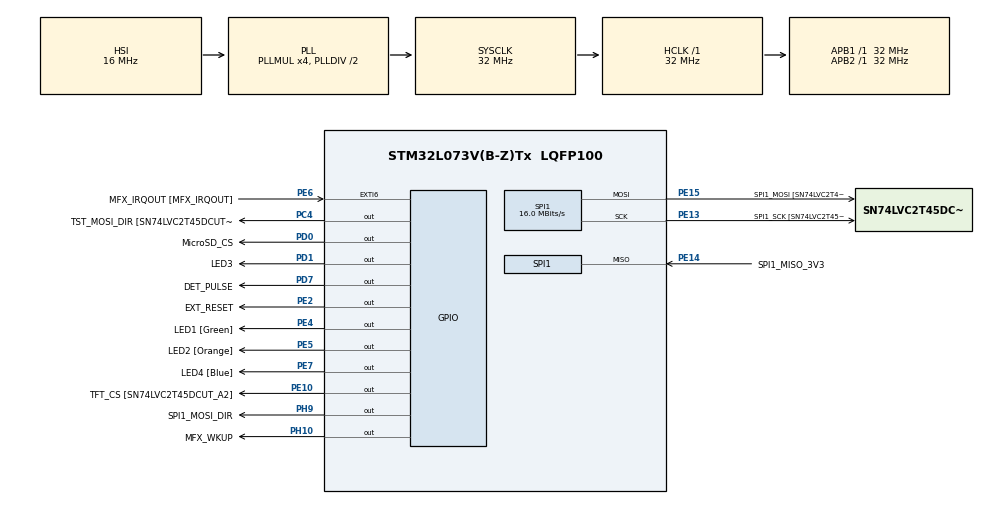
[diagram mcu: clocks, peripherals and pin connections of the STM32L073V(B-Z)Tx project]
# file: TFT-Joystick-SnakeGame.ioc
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Mcu.Family=STM32L0
Mcu.Name=STM32L073V(B-Z)Tx
Mcu.Package=LQFP100
NVIC.EXTI4_15_IRQn=true\:0\:0\:false\:false\:true\:true
PA0.GPIO_Label=PRESSURE [TSZ122IST_1]
PA0.Signal=ADC_IN0
PA11.GPIO_Label=USB_DM
PA11.Signal=USB_DM
PA12.GPIO_Label=USB_DP
PA12.Signal=USB_DP
PA13.GPIO_Label=SWDIO
PA13.Signal=SYS_SWDIO
PA14.GPIO_Label=SWCLK
PA14.Signal=SYS_SWCLK
PA4.GPIO_Label=DAC OUT1
PA4.Signal=COMP_DAC1_group
PA5.GPIO_Label=ADC_IN5
PA5.Signal=ADC_IN5
PA7.GPIO_Label=DET_COMP2_OUT [TP18]
PA7.Signal=COMP2_OUT
PB3.GPIO_Label=DET_COMP2_INM
PB3.Signal=COMP2_INM
PB4.GPIO_Label=DET_COMP2_INP
PB4.Signal=COMP2_INP
PB5.GPIO_Label=TempSensor_INT [STLM75M2F_OS/INT]
PB5.Signal=I2C1_SMBA
PB6.GPIO_Label=I2C1_SCL [STLM75M2F_SCL]
PB6.Signal=I2C1_SCL
PB7.GPIO_Label=I2C1_SDA [STLM75M2F_SDA]
PB7.Signal=I2C1_SDA
PC0.GPIO_Label=DET_LPTIM_CH1 [TS862AIPT_9]
PC0.Signal=LPTIM1_IN1
PC13.GPIO_Label=KEY [B2]
PC13.Signal=SYS_WKUP2
PC14-OSC32_IN.Signal=RCC_OSC32_IN
PC15-OSC32_OUT.Signal=RCC_OSC32_OUT
PC4.GPIO_Label=TST_MOSI_DIR [SN74LVC2T45DCUT_DIR]
PC4.Signal=GPIO_Output
PD0.GPIO_Label=MicroSD_CS
PD0.Signal=GPIO_Output
PD1.GPIO_Label=LED3
PD1.GPIO_ModeDefaultOutputPP=GPIO_MODE_OUTPUT_OD
PD1.Signal=GPIO_Output
PD11.GPIO_Label=LPUART_CTS_3V3 [ST3241EBPR_R4OUT]
PD11.Signal=LPUART1_CTS
PD12.GPIO_Label=LPUART_RTS [SN74LVC2T45DCUT_A2]
PD12.Signal=LPUART1_RTS
PD3.GPIO_Label=USART2_CTS_3V3 [ST3241EBPR_R4OUT]
PD3.Signal=USART2_CTS
PD4.GPIO_Label=USART2_RTS [N74LVC2T45DCUT_A2]
PD4.Signal=USART2_RTS
PD5.GPIO_Label=USART2_TX [N74LVC2T45DCUT_A1]
PD5.Signal=USART2_TX
PD6.GPIO_Label=USART2_RX_3V3 [ST3241EBPR_R3OUT]
PD6.Signal=USART2_RX
PD7.GPIO_Label=DET_PULSE
PD7.GPIO_ModeDefaultOutputPP=GPIO_MODE_OUTPUT_OD
PD7.Signal=GPIO_Output
PD8.GPIO_Label=LPUART_TX [SN74LVC2T45DCUT_A1]
PD8.Signal=LPUART1_TX
PD9.GPIO_Label=LPUART_RX_3V3 [ST3241EBPR_R3OUT]
PD9.Signal=LPUART1_RX
PE10.GPIO_Label=TFT_CS [SN74LVC2T45DCUT_A2]
PE10.Signal=GPIO_Output
PE13.GPIO_Label=SPI1_SCK [SN74LVC2T45DCUT_A1]
PE13.Mode=Full_Duplex_Master
PE13.Signal=SPI1_SCK
PE14.GPIO_Label=SPI1_MISO_3V3
PE14.Mode=Full_Duplex_Master
PE14.Signal=SPI1_MISO
PE15.GPIO_Label=SPI1_MOSI [SN74LVC2T45DCUT_A1]
PE15.Mode=Full_Duplex_Master
PE15.Signal=SPI1_MOSI
PE2.GPIO_Label=EXT_RESET
PE2.Signal=GPIO_Output
PE4.GPIO_Label=LED1 [Green]
PE4.GPIO_ModeDefaultOutputPP=GPIO_MODE_OUTPUT_OD
PE4.Signal=GPIO_Output
PE5.GPIO_Label=LED2 [Orange]
PE5.GPIO_ModeDefaultOutputPP=GPIO_MODE_OUTPUT_OD
PE5.Signal=GPIO_Output
PE6.GPIO_Label=MFX_IRQOUT [MFX_IRQOUT]
PE6.Signal=GPXTI6
PE7.GPIO_Label=LED4 [Blue]
PE7.GPIO_ModeDefaultOutputPP=GPIO_MODE_OUTPUT_OD
PE7.Signal=GPIO_Output
PE8.GPIO_Label=USART4_TX [SN74LVC2T45DCUT_A1]
PE8.Signal=USART4_TX
PE9.GPIO_Label=USART4_RX_3V3
PE9.Signal=USART4_RX
PH10.GPIO_Label=MFX_WKUP
PH10.Signal=GPIO_Output
PH9.GPIO_Label=SPI1_MOSI_DIR
PH9.Signal=GPIO_Output
ProjectManager.HeapSize=0x200
ProjectManager.StackSize=0x400
ProjectManager.TargetToolchain=SW4STM32
RCC.AHBFreq_Value=32000000
RCC.APB1Freq_Value=32000000
RCC.APB1TimFreq_Value=32000000
RCC.APB2Freq_Value=32000000
RCC.APB2TimFreq_Value=32000000
RCC.HCLKFreq_Value=32000000
RCC.HSE_VALUE=8000000
RCC.HSI16_VALUE=16000000
RCC.HSI48_VALUE=48000000
RCC.HSI_VALUE=16000000
RCC.LSE_VALUE=32768
RCC.MSI_VALUE=2097000
RCC.PLLMUL=RCC_PLLMUL_4
RCC.SYSCLKFreq_VALUE=32000000
RCC.SYSCLKSource=RCC_SYSCLKSOURCE_PLLCLK
RCC.VCOOutputFreq_Value=64000000
SH.COMP_DAC1_group.0=DAC_OUT1
SPI1.CalculateBaudRate=16.0 MBits/s
SPI1.Direction=SPI_DIRECTION_2LINES
SPI1.Mode=SPI_MODE_MASTER
SPI1.VirtualType=VM_MASTER
board=STM32L073Z-EVAL

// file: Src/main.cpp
/**
  ******************************************************************************
  * File Name          : main.c
  * Description        : Main program body
  ******************************************************************************
  ** This notice applies to any and all portions of this file
  * that are not between comment pairs USER CODE BEGIN and
  * USER CODE END. Other portions of this file, whether
  * inserted by the user or by software development tools
  * are owned by their respective copyright owners.
  *
  * COPYRIGHT(c) 2017 STMicroelectronics
  *
  * Redistribution and use in source and binary forms, with or without modification,
  * are permitted provided that the following conditions are met:
  *   1. Redistributions of source code must retain the above copyright notice,
  *      this list of conditions and the following disclaimer.
  *   2. Redistributions in binary form must reproduce the above copyright notice,
  *      this list of conditions and the following disclaimer in the documentation
  *      and/or other materials provided with the distribution.
  *   3. Neither the name of STMicroelectronics nor the names of its contributors
  *      may be used to endorse or promote products derived from this software
  *      without specific prior written permission.
  *
  * THIS SOFTWARE IS PROVIDED BY THE COPYRIGHT HOLDERS AND CONTRIBUTORS "AS IS"
  * AND ANY EXPRESS OR IMPLIED WARRANTIES, INCLUDING, BUT NOT LIMITED TO, THE
  * IMPLIED WARRANTIES OF MERCHANTABILITY AND FITNESS FOR A PARTICULAR PURPOSE ARE
  * DISCLAIMED. IN NO EVENT SHALL THE COPYRIGHT HOLDER OR CONTRIBUTORS BE LIABLE
  * FOR ANY DIRECT, INDIRECT, INCIDENTAL, SPECIAL, EXEMPLARY, OR CONSEQUENTIAL
  * DAMAGES (INCLUDING, BUT NOT LIMITED TO, PROCUREMENT OF SUBSTITUTE GOODS OR
  * SERVICES; LOSS OF USE, DATA, OR PROFITS; OR BUSINESS INTERRUPTION) HOWEVER
  * CAUSED AND ON ANY THEORY OF LIABILITY, WHETHER IN CONTRACT, STRICT LIABILITY,
  * OR TORT (INCLUDING NEGLIGENCE OR OTHERWISE) ARISING IN ANY WAY OUT OF THE USE
  * OF THIS SOFTWARE, EVEN IF ADVISED OF THE POSSIBILITY OF SUCH DAMAGE.
  *
  ******************************************************************************
  */

#include "main.h"
#include "stm32l0xx_hal.h"
#include "spi.h"
#include "gpio.h"

/* USER CODE BEGIN Includes */
#include "stm32l073z_eval.h"
#include "stm32l073z_eval_lcd.h"
#include "snake.hpp"
/* USER CODE END Includes */

/* USER CODE BEGIN PV */
/* Private variables ---------------------------------------------------------*/

/* USER CODE END PV */

void SystemClock_Config(void);

/* USER CODE BEGIN PFP */
/* Private function prototypes -----------------------------------------------*/

/* USER CODE END PFP */

/* USER CODE BEGIN 0 */
#define SNAKE_LCD_SCALE (16)
#define SNAKE_SPEED_MS (150)

void MyLCD_draw(uint16_t x, uint16_t y, uint16_t color) {
    BSP_LCD_SetTextColor(color);
    BSP_LCD_FillRect(
            x * SNAKE_LCD_SCALE,
            y * SNAKE_LCD_SCALE,
            SNAKE_LCD_SCALE,
            SNAKE_LCD_SCALE);
}

void MyLCD_updateScore(uint16_t score) {
    char buf[50];

    BSP_LCD_SetTextColor(Snake::COLOR_TEXT);
    BSP_LCD_SetBackColor(Snake::COLOR_BORDER);

    BSP_LCD_SetFont(&Font16);
    sprintf(buf, "Score: %d",score);
    BSP_LCD_DisplayStringAt(0, 0, (unsigned char *) buf, LEFT_MODE);
}
/* USER CODE END 0 */

int main(void)
{

  /* MCU Configuration----------------------------------------------------------*/

  /* Reset of all peripherals, Initializes the Flash interface and the Systick. */
  HAL_Init();

  /* Configure the system clock */
  SystemClock_Config();

  /* Initialize all configured peripherals */
  MX_GPIO_Init();
  MX_SPI1_Init();

  /* USER CODE BEGIN 2 */

  BSP_LED_Init(LED1);
  BSP_LED_Init(LED2);
  BSP_LED_Init(LED3);
  BSP_LED_Init(LED4);

  BSP_JOY_Init(JOY_MODE_GPIO);

  BSP_LCD_Init();
  BSP_LCD_SetTextColor(Snake::COLOR_TEXT);
  BSP_LCD_SetBackColor(Snake::COLOR_BACKGROUND);
  BSP_LCD_SetFont(&Font24);

  BSP_LCD_Clear(Snake::COLOR_BACKGROUND);
  BSP_LCD_DisplayStringAt(0, LINE(3), (unsigned char *) "[SNAKE]", CENTER_MODE);
  BSP_LCD_DisplayStringAt(0, LINE(4), (unsigned char *) "Press any key", CENTER_MODE);
  BSP_LCD_DisplayStringAt(0, LINE(5), (unsigned char *) "to start.", CENTER_MODE);
  /* USER CODE END 2 */

  /* Infinite loop */
  /* USER CODE BEGIN WHILE */
  uint32_t ticks = 0;
  while (true) {

      while (BSP_JOY_GetState() == JOY_NONE) {
          HAL_Delay(10);
          // wait until any key is pressed to start
      }

      Snake snake = Snake(
              BSP_LCD_GetXSize() / SNAKE_LCD_SCALE,
              BSP_LCD_GetYSize() / SNAKE_LCD_SCALE,
              &MyLCD_draw,
              &MyLCD_updateScore,
              []() { BSP_LCD_Clear(Snake::COLOR_BACKGROUND); });
      snake.invalidate();

      while (true) {
          //TODO: move to external interrupt
          switch (BSP_JOY_GetState()) {
          case JOY_SEL:
              break;
          case JOY_LEFT:
              snake.setDirection(Snake::DIR_LEFT);
              break;
          case JOY_UP:
              snake.setDirection(Snake::DIR_UP);
              break;
          case JOY_DOWN:
              snake.setDirection(Snake::DIR_DOWN);
              break;
          case JOY_RIGHT:
              snake.setDirection(Snake::DIR_RIGHT);
              break;
          case JOY_NONE:
          default:
              break;
          };
          if (HAL_GetTick() - ticks > SNAKE_SPEED_MS) {
              // BSP_LED_Toggle(LED_ORANGE);
              ticks = HAL_GetTick();
              if (!snake.hasNextMove()) {
                  // lose
                  break;
              }
              snake.move();
          }
      }

      BSP_LCD_SetTextColor(Snake::COLOR_TEXT);
      BSP_LCD_SetBackColor(Snake::COLOR_BACKGROUND);
      BSP_LCD_SetFont(&Font24);
      BSP_LCD_DisplayStringAt(0, LINE(3), (unsigned char *) "You lose!", CENTER_MODE);
      BSP_LCD_DisplayStringAt(0, LINE(4), (unsigned char *) "Press any key", CENTER_MODE);
      BSP_LCD_DisplayStringAt(0, LINE(5), (unsigned char *) "to restart.", CENTER_MODE);
  }
  /* USER CODE END WHILE */

}

/** System Clock Configuration
*/
void SystemClock_Config(void)
{

  RCC_OscInitTypeDef RCC_OscInitStruct;
  RCC_ClkInitTypeDef RCC_ClkInitStruct;

    /**Configure the main internal regulator output voltage
    */
  __HAL_PWR_VOLTAGESCALING_CONFIG(PWR_REGULATOR_VOLTAGE_SCALE1);

    /**Initializes the CPU, AHB and APB busses clocks
    */
  RCC_OscInitStruct.OscillatorType = RCC_OSCILLATORTYPE_HSI;
  RCC_OscInitStruct.HSIState = RCC_HSI_ON;
  RCC_OscInitStruct.HSICalibrationValue = 16;
  RCC_OscInitStruct.PLL.PLLState = RCC_PLL_ON;
  RCC_OscInitStruct.PLL.PLLSource = RCC_PLLSOURCE_HSI;
  RCC_OscInitStruct.PLL.PLLMUL = RCC_PLLMUL_4;
  RCC_OscInitStruct.PLL.PLLDIV = RCC_PLLDIV_2;
  if (HAL_RCC_OscConfig(&RCC_OscInitStruct) != HAL_OK)
  {
    _Error_Handler(__FILE__, __LINE__);
  }

    /**Initializes the CPU, AHB and APB busses clocks
    */
  RCC_ClkInitStruct.ClockType = RCC_CLOCKTYPE_HCLK|RCC_CLOCKTYPE_SYSCLK
                              |RCC_CLOCKTYPE_PCLK1|RCC_CLOCKTYPE_PCLK2;
  RCC_ClkInitStruct.SYSCLKSource = RCC_SYSCLKSOURCE_PLLCLK;
  RCC_ClkInitStruct.AHBCLKDivider = RCC_SYSCLK_DIV1;
  RCC_ClkInitStruct.APB1CLKDivider = RCC_HCLK_DIV1;
  RCC_ClkInitStruct.APB2CLKDivider = RCC_HCLK_DIV1;

  if (HAL_RCC_ClockConfig(&RCC_ClkInitStruct, FLASH_LATENCY_1) != HAL_OK)
  {
    _Error_Handler(__FILE__, __LINE__);
  }

    /**Configure the Systick interrupt time
    */
  HAL_SYSTICK_Config(HAL_RCC_GetHCLKFreq()/1000);

    /**Configure the Systick
    */
  HAL_SYSTICK_CLKSourceConfig(SYSTICK_CLKSOURCE_HCLK);

  /* SysTick_IRQn interrupt configuration */
  HAL_NVIC_SetPriority(SysTick_IRQn, 0, 0);
}

void _Error_Handler(char * file, int line)
{
  while(1)
  {
  }
}

/************************ (C) COPYRIGHT STMicroelectronics *****END OF FILE****/
